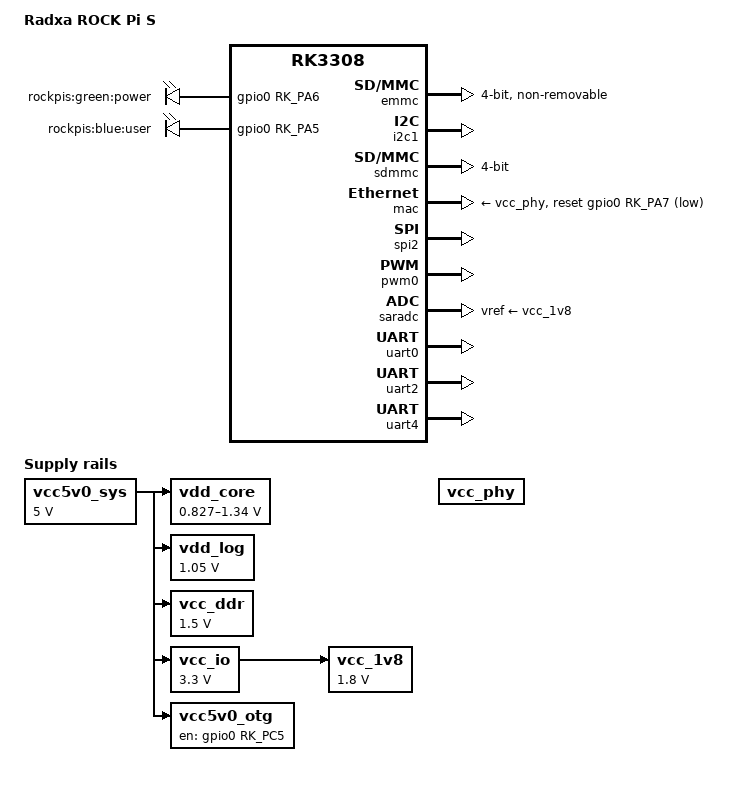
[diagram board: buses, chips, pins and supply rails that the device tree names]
// SPDX-License-Identifier: (GPL-2.0+ OR MIT)
/*
 * Copyright (c) 2019 Akash Gajjar <akash@openedev.com>
 * Copyright (c) 2019 Jagan Teki <jagan@openedev.com>
 */

/dts-v1/;
#include "rk3308.dtsi"

/ {
	model = "Radxa ROCK Pi S";
	compatible = "radxa,rockpis", "rockchip,rk3308";

	chosen {
		stdout-path = "serial2:1500000n8";
	};

	leds {
		compatible = "gpio-leds";
		pinctrl-names = "default";
		pinctrl-0 = <&green_led_gio>, <&heartbeat_led_gpio>;

		green-led {
			label = "rockpis:green:power";
			gpios = <&gpio0 RK_PA6 GPIO_ACTIVE_HIGH>;
			linux,default-trigger = "default-on";
			default-state = "on";
		};

		blue-led {
			label = "rockpis:blue:user";
			gpios = <&gpio0 RK_PA5 GPIO_ACTIVE_HIGH>;
			default-state = "on";
			linux,default-trigger = "heartbeat";
		};
	};

	vcc5v0_sys: vcc5v0-sys {
		compatible = "regulator-fixed";
		regulator-name = "vcc5v0_sys";
		regulator-always-on;
		regulator-boot-on;
		regulator-min-microvolt = <5000000>;
		regulator-max-microvolt = <5000000>;
	};

	vdd_core: vdd-core {
		compatible = "pwm-regulator";
		pwms = <&pwm0 0 5000 1>;
		regulator-name = "vdd_core";
		regulator-min-microvolt = <827000>;
		regulator-max-microvolt = <1340000>;
		regulator-init-microvolt = <1015000>;
		regulator-settling-time-up-us = <250>;
		regulator-always-on;
		regulator-boot-on;
		pwm-supply = <&vcc5v0_sys>;
	};

	vdd_log: vdd-log {
		compatible = "regulator-fixed";
		regulator-name = "vdd_log";
		regulator-always-on;
		regulator-boot-on;
		regulator-min-microvolt = <1050000>;
		regulator-max-microvolt = <1050000>;
		vin-supply = <&vcc5v0_sys>;
	};

	vcc_ddr: vcc-ddr {
		compatible = "regulator-fixed";
		regulator-name = "vcc_ddr";
		regulator-always-on;
		regulator-boot-on;
		regulator-min-microvolt = <1500000>;
		regulator-max-microvolt = <1500000>;
		vin-supply = <&vcc5v0_sys>;
	};

	vcc_1v8: vcc-1v8 {
		compatible = "regulator-fixed";
		regulator-name = "vcc_1v8";
		regulator-always-on;
		regulator-boot-on;
		regulator-min-microvolt = <1800000>;
		regulator-max-microvolt = <1800000>;
		vin-supply = <&vcc_io>;
	};

	vcc_io: vcc-io {
		compatible = "regulator-fixed";
		regulator-name = "vcc_io";
		regulator-always-on;
		regulator-boot-on;
		regulator-min-microvolt = <3300000>;
		regulator-max-microvolt = <3300000>;
		vin-supply = <&vcc5v0_sys>;
	};

	vcc_phy: vcc-phy-regulator {
		compatible = "regulator-fixed";
		regulator-name = "vcc_phy";
		regulator-always-on;
		regulator-boot-on;
	};

	vcc5v0_otg: vcc5v0-otg {
		compatible = "regulator-fixed";
		regulator-name = "vcc5v0_otg";
		regulator-always-on;
		gpio = <&gpio0 RK_PC5 GPIO_ACTIVE_HIGH>;
		enable-active-high;
		pinctrl-names = "default";
		pinctrl-0 = <&otg_vbus_drv>;
		vin-supply = <&vcc5v0_sys>;
	};
};

&cpu0 {
	cpu-supply = <&vdd_core>;
};

&emmc {
	bus-width = <4>;  // Confirm if right value - <8>
	cap-mmc-highspeed;
	mmc-hs200-1_8v;
	/* supports-sd; */
	/* disable-wp; */
	non-removable;
	/* num-slots = <1>; */
	/* please provide actual vmmc and vqmmc supplies
	vin is not a valid supply for emmcs */
	vin-supply = <&vcc_io>;
	status = "okay";
};

&i2c1 {
	status = "okay";
};

&sdmmc {
	bus-width = <4>;
	cap-mmc-highspeed;
	cap-sd-highspeed;
	disable-wp;
	max-frequency = <150000000>;
	pinctrl-names = "default";
	pinctrl-0 = <&sdmmc_clk &sdmmc_cmd &sdmmc_det &sdmmc_bus4>;
	sd-uhs-sdr12;
	sd-uhs-sdr25;
	sd-uhs-sdr50;
	sd-uhs-sdr104;
	status = "okay";
};

&mac {
	phy-supply = <&vcc_phy>;
	clock_in_out = "output";
	assigned-clocks = <&cru SCLK_MAC>;
	assigned-clock-parents = <&cru SCLK_MAC_SRC>;
	snps,reset-gpio = <&gpio0 RK_PA7 GPIO_ACTIVE_LOW>;
	snps,reset-active-low;
	snps,reset-delays-us = <0 50000 50000>;
	status = "okay";
};

&spi2 {
	status = "okay";
	max-freq = <10000000>;
};

&pinctrl {
	pinctrl-names = "default";
	pinctrl-0 = <&rtc_32k>;

	leds {
		green_led_gio: green-led-gpio {
			rockchip,pins = <0 RK_PA6 RK_FUNC_GPIO &pcfg_pull_none>;
		};

		heartbeat_led_gpio: heartbeat-led-gpio {
			rockchip,pins = <0 RK_PA5 RK_FUNC_GPIO &pcfg_pull_none>;
		};
	};

	usb {
		otg_vbus_drv: otg-vbus-drv {
			rockchip,pins = <0 RK_PC5 RK_FUNC_GPIO &pcfg_pull_none>;
		};
	};
};

&pwm0 {
	status = "okay";
	pinctrl-0 = <&pwm0_pin_pull_down>;
};

&saradc {
	vref-supply = <&vcc_1v8>;
	status = "okay";
};

&uart0 {
	status = "okay";
};

&uart2 {
	status = "okay";
};

&uart4 {
	pinctrl-names = "default";
	pinctrl-0 = <&uart4_xfer &uart4_rts &uart4_cts>;
	status = "okay";
};
